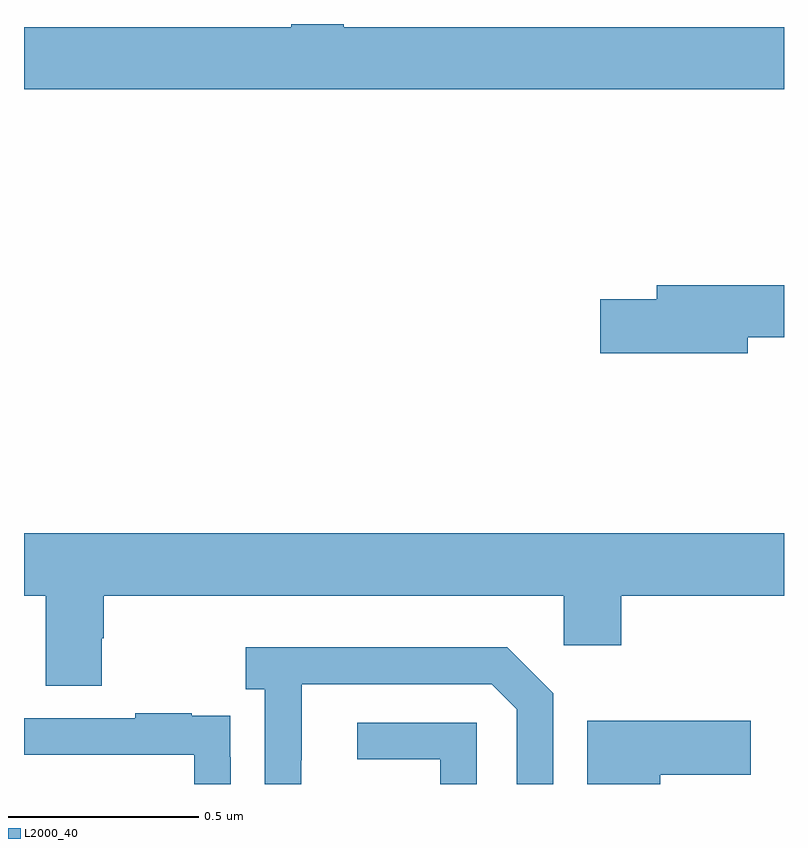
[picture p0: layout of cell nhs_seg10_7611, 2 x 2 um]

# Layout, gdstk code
import gdstk
lib = gdstk.Library(unit=1e-6, precision=1e-09)
def P(c, l, *ps):  # polygons
    for p in ps: c.add(gdstk.Polygon(p, *l))
L2000_40 = (2000, 40)

nhs_seg10_7611 = lib.new_cell('nhs_seg10_7611')
P(nhs_seg10_7611, L2000_40, [(208,1288.492),(206.842,1288.492),(206.842,1288.5),(206.703,1288.5),(206.703,1288.492),(206,1288.492),(206,1288.328),(208,1288.328)],
  [(207.904,1287.676),(208,1287.676),(208,1287.812),(207.665,1287.812),(207.665,1287.776),(207.516,1287.776),(207.516,1287.634),(207.904,1287.634)],
  [(206.205,1286.883),(206.21,1286.883),(206.21,1286.996),(207.42,1286.996),(207.42,1286.865),(207.572,1286.865),(207.572,1286.996),(208,1286.996),(208,1287.16),(206,1287.16),(206,1286.996),(206.057,1286.996),(206.057,1286.758),(206.205,1286.758)],
  [(206.73,1286.563),(206.731,1286.563),(206.731,1286.763),(207.231,1286.763),(207.297,1286.697),(207.297,1286.5),(207.393,1286.5),(207.393,1286.739),(207.272,1286.86),(206.583,1286.86),(206.583,1286.75),(206.634,1286.75),(206.634,1286.5),(206.73,1286.5)],
  [(206.544,1286.57),(206.543,1286.57),(206.543,1286.679),(206.441,1286.679),(206.441,1286.686),(206.293,1286.686),(206.293,1286.673),(206,1286.673),(206,1286.577),(206.448,1286.577),(206.448,1286.5),(206.544,1286.5)],
  [(207.674,1286.525),(207.913,1286.525),(207.913,1286.667),(207.482,1286.667),(207.482,1286.5),(207.674,1286.5)],
  [(207.192,1286.661),(206.877,1286.661),(206.877,1286.565),(207.096,1286.565),(207.096,1286.5),(207.192,1286.5)])

lib.write_gds('nhs_seg10_7611.gds')
